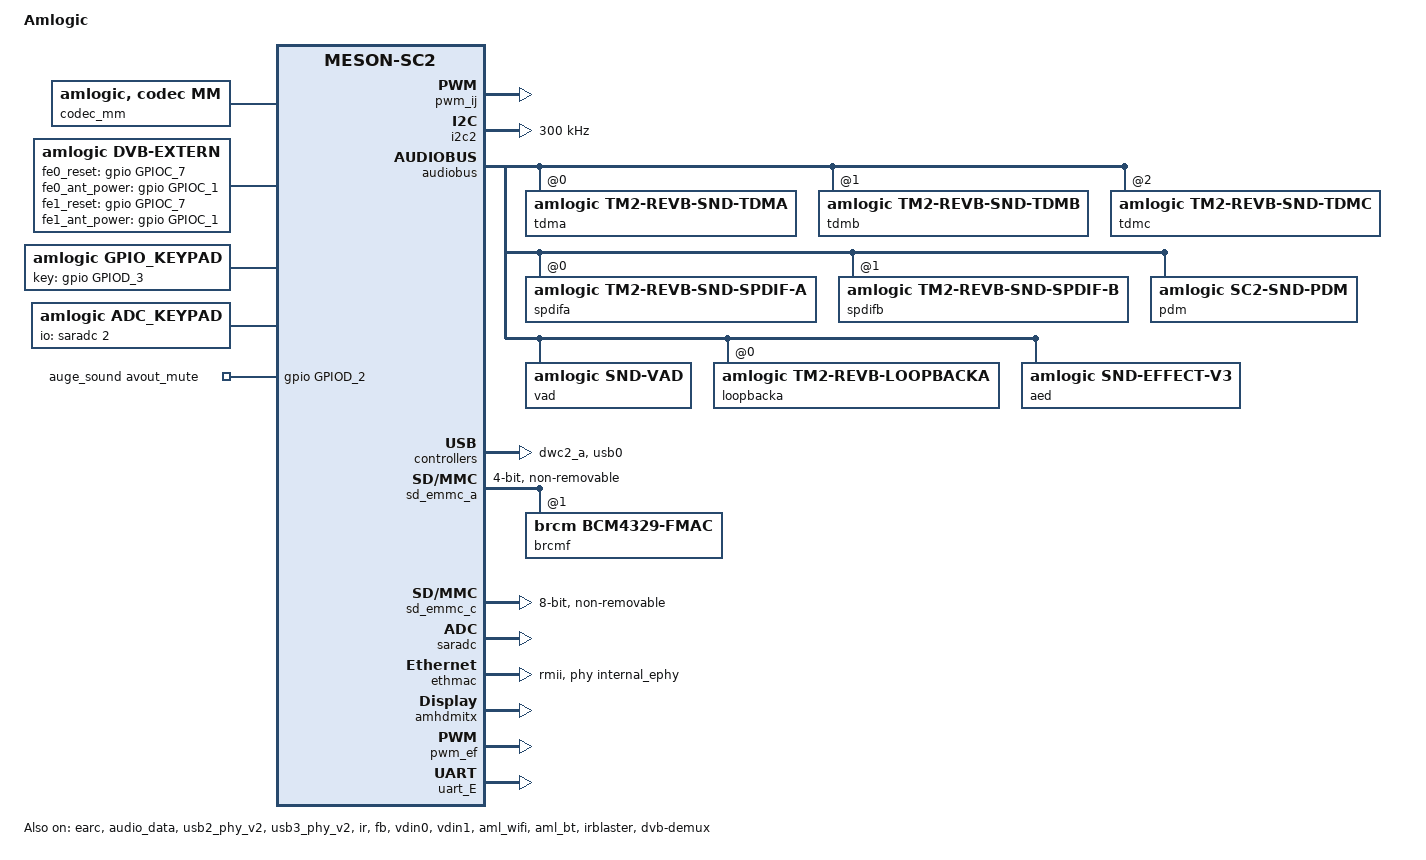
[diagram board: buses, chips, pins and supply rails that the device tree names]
// SPDX-License-Identifier: (GPL-2.0+ OR MIT)
/*
 * Copyright (c) 2019 Amlogic, Inc. All rights reserved.
 */

/dts-v1/;

#include "meson-sc2.dtsi"
#include "partition_mbox_ab.dtsi"
#include <dt-bindings/input/input.h>

/ {
	model = "Amlogic";
	amlogic-dt-id = "sc2_s905x4_ah219";
	compatible = "amlogic, sc2";
	interrupt-parent = <&gic>;
	#address-cells = <2>;
	#size-cells = <2>;

	aliases {
		serial0 = &uart_B;
		serial1 = &uart_E;
		serial2 = &uart_C;
		serial3 = &uart_D;
		serial4 = &uart_A;
		i2c0 = &i2c0;
		i2c1 = &i2c1;
		i2c2 = &i2c2;
		i2c3 = &i2c3;
		i2c4 = &i2c4;
		spi1 = &spicc0;
		spi2 = &spicc1;
		tsensor0 = &p_tsensor;
		tsensor1 = &d_tsensor;
	};

	memory@00000000 {
		device_type = "memory";
		linux,usable-memory = <0x0 0x000000 0x0 0x80000000>;
	};

	reserved-memory {
		#address-cells = <2>;
		#size-cells = <2>;
		ranges;

		/* global autoconfigured region for contiguous allocations */
		ramoops@0x07400000 {
			compatible = "ramoops";
			reg = <0x0 0x07400000 0x0 0x00100000>;
			record-size = <0x20000>;
			console-size = <0x40000>;
			ftrace-size = <0x80000>;
			pmsg-size = <0x10000>;
			bconsole-size = <0x10000>;
		};

		secmon_reserved:linux,secmon {
			compatible = "shared-dma-pool";
			reusable;
			size = <0x0 0x3400000>;
			alignment = <0x0 0x400000>;
			alloc-ranges = <0x0 0x05000000 0x0 0x3400000>;
		};
		logo_reserved:linux,meson-fb {
			compatible = "shared-dma-pool";
			reusable;
			size = <0x0 0x800000>;
			alignment = <0x0 0x400000>;
			alloc-ranges = <0x0 0x7f800000 0x0 0x800000>;
		};

		ion_cma_reserved:linux,ion-dev {
			compatible = "shared-dma-pool";
			reusable;
			size = <0x0 0x6400000>;
			alignment = <0x0 0x400000>;
		};
		ion_fb_reserved:linux,ion-fb {
			compatible = "shared-dma-pool";
			reusable;
			/* 1920x1080x4x3 round up 4M align */
			size = <0x0 0x1c00000>;
			alignment = <0x0 0x400000>;
		};

		/*di CMA pool */
		//di_cma_reserved:linux,di_cma {
			//compatible = "shared-dma-pool";
			//status = "okay";
			//reusable;
			/* buffer_size = 3621952(yuv422 8bit)
			 *  | 4736064(yuv422 10bit)
			 *  | 4074560(yuv422 10bit full pack mode)
			 * 10x3621952=34.6M(0x23) support 8bit
			 * 10x4736064=45.2M(0x2e) support 12bit
			 * 10x4074560=40M(0x28) support 10bit
			 */
			//size = <0x0 0x0B000000>;
			//size = <0x0 0x0>;
			//alignment = <0x0 0x400000>;
		//};

		/*  POST PROCESS MANAGER */
		ppmgr_reserved:linux,ppmgr {
			compatible = "shared-dma-pool";
			size = <0x0>;
		};

		codec_mm_cma:linux,codec_mm_cma {
			compatible = "shared-dma-pool";
			reusable;
			/* ion_codec_mm max can alloc size 80M*/
			size = <0x0 0x1b000000>;
			alignment = <0x0 0x400000>;
			linux,contiguous-region;
		};

		/* codec shared reserved */
		codec_mm_reserved:linux,codec_mm_reserved {
			compatible = "amlogic, codec-mm-reserved";
			size = <0x0 0x0>;
			alignment = <0x0 0x100000>;
			//no-map;
		};

		/*  vdin0 CMA pool */
		vdin0_cma_reserved:linux,vdin0_cma {
			compatible = "shared-dma-pool";
			reusable;
			/* up to 1920x1080 yuv422 8bit and 5 buffers
			 * 1920x1080x2x5 = 20 M
			 */
			size = <0x0 0x01400000>;
			alignment = <0x0 0x400000>;
		};
		/*  vdin1 CMA pool */
		vdin1_cma_reserved:linux,vdin1_cma {
			compatible = "shared-dma-pool";
			reusable;
			/* up to 1920x1080 yuv422 8bit and 5 buffers
			 * 1920x1080x2x5 = 20 M
			 */
			size = <0x0 0x01400000>;
			alignment = <0x0 0x400000>;
		};
		dsp_fw_reserved:linux,dsp_fw {
			compatible = "shared-dma-pool";
			reusable;
			size = <0x0 0x00800000>;
			alignment = <0x0 0x00400000>;
			alloc-ranges = <0x0 0x30000000 0x0 0x00800000>;
		};
	};
	codec_mm {
		compatible = "amlogic, codec, mm";
		memory-region = <&codec_mm_cma &codec_mm_reserved>;
		dev_name = "codec_mm";
		status = "okay";
	};
	amdolby_vision {
		compatible = "amlogic, dolby_vision_sc2";
		dev_name = "aml_amdolby_vision_driver";
		status = "okay";
		tv_mode = <0>;/*1:enabel ;0:disable*/
	};
	cvbsout {
		compatible = "amlogic, cvbsout-sc2";
		status = "okay";

		/* clk path */
		/* 0:vid_pll vid2_clk */
		/* 1:gp0_pll vid2_clk */
		/* 2:vid_pll vid1_clk */
		/* 3:gp0_pll vid1_clk */
		clk_path = <0>;

		/* performance: reg_address, reg_value */
		/* sc2 */
		performance_pal = <0x1bf0  0x3 /* default Matrx625 CTCC value */
			0x1b12  0x8060
			0x1b05  0xf9
			0x1b56  0x333
			0x1c59  0xf15e
			0xffff  0x0>; /* ending flag */
		performance = <0x1bf0  0x3 /* ccitt033 SVA value */
			0x1b12  0x8080
			0x1b05  0xfc
			0x1b56  0x333
			0x1c59  0xf458
			0xffff  0x0>; /* ending flag */
		performance_ntsc = <0x1bf0  0x3 /* Matrx525 TTC value */
			0x1b12  0x8180
			0x1b05  0xf0
			0x1b56  0x333
			0x1c59  0xed66
			0xffff  0x0>; /* ending flag */
	};

	dvb-extern {
		compatible = "amlogic, dvb-extern";
		dev_name = "dvb-extern";
		status = "okay";

		fe_num = <2>;
		fe0_mode = "external";
		fe0_demod = "cxd2856";
		fe0_i2c_adap_id = <&i2c2>;
		fe0_demod_i2c_addr = <0xD8>;
		fe0_reset_value = <0>;
		fe0_reset_gpio = <&gpio GPIOC_7 GPIO_ACTIVE_HIGH>;
		fe0_reset_dir = <1>; /* 0: out, 1: in. */
		fe0_ant_poweron_value = <0>;
		fe0_ant_power_gpio = <&gpio GPIOC_1 GPIO_ACTIVE_HIGH>;
		fe0_ts  = <0>;
		fe0_tuner0 = <0>; /* T/C */
		fe0_tuner1 = <1>; /* S */

		fe1_demod = "cxd2856";
		fe1_i2c_adap_id = <&i2c2>;
		fe1_demod_i2c_addr = <0xCA>;
		fe1_reset_value = <0>;
		fe1_reset_gpio = <&gpio GPIOC_7 GPIO_ACTIVE_HIGH>;
		fe1_reset_dir = <1>; /* 0: out, 1: in. */
		fe1_ant_poweron_value = <0>;
		fe1_ant_power_gpio = <&gpio GPIOC_1 GPIO_ACTIVE_HIGH>;
		fe1_ts  = <1>;
		fe1_tuner0 = <0>; /* T/C */
		fe1_tuner1 = <1>; /* S */

		tuner_num = <2>; /* for extern demod use tuner */
		tuner0_name = "r836_tuner";
		tuner1_name = "av2018_tuner";
	};

	dvb-demux {
		compatible = "amlogic sc2, dvb-demux";
		dev_name = "dvb-demux";
		status = "okay";

		reg = <0x0 0xfe000000 0x0 0x480000>;

		dmxdev_num = <6>;

		tsn_from = "demod";

		/*single demod setting */
		ts0_sid = <0x20>;
		ts0 = "serial-4wire"; /* tsinA: serial-4wire, serial-3wire */
		ts0_control = <0x0>;
		ts0_invert = <0>;

		ts1_sid = <0x21>;
		ts1 = "serial-4wire";
		ts1_control = <0x0>;
		ts1_invert = <0>;

		pinctrl-names = "s_ts0", "s_ts1";
		pinctrl-0 = <&dvb_s_ts0_pins>;
		pinctrl-1 = <&dvb_s_ts1_pins>;
	};

	ionvideo {
		compatible = "amlogic, ionvideo";
		dev_name = "ionvideo";
		status = "okay";
	};

	amlvideo2_0 {
		compatible = "amlogic, amlvideo2";
		dev_name = "amlvideo2";
		status = "okay";
		amlvideo2_id = <0>;
		cma_mode = <1>;
	};

	amlvideo2_1 {
		compatible = "amlogic, amlvideo2";
		dev_name = "amlvideo2";
		status = "okay";
		amlvideo2_id = <1>;
		cma_mode = <1>;
	};

	ppmgr {
		compatible = "amlogic, ppmgr";
		memory-region = <&ppmgr_reserved>;
		dev_name = "ppmgr";
		status = "okay";
	};

	amlvecm {
		compatible = "amlogic, vecm";
		dev_name = "aml_vecm";
		status = "okay";
		gamma_en = <0>;/*1:enabel ;0:disable*/
		wb_en = <0>;/*1:enabel ;0:disable*/
		cm_en = <0>;/*1:enabel ;0:disable*/
		/*0: 709/601  1: bt2020*/
		tx_op_color_primary = <0>;
	};

	multi-di {
		compatible = "amlogic, dim-sc2";
		status = "okay";
		/* 0:use reserved; 1:use cma; 2:use cma as reserved */
		flag_cma = <4>;	//<1>;
		//memory-region = <&di_reserved>;
		//memory-region = <&di_cma_reserved>;
		interrupts = <0 203 1
				0 202 1>;
		interrupt-names = "pre_irq", "post_irq";
		clocks = <&clkc CLKID_VPU_CLKB>,
			<&clkc CLKID_VPU>;
		clock-names = "vpu_clkb",
			"vpu_mux";
		clock-range = <334 667>;
		/* buffer-size = <3621952>;(yuv422 8bit) */
		buffer-size = <4074560>;/*yuv422 fullpack*/
		/* reserve-iomap = "true"; */
		/* if enable nr10bit, set nr10bit-support to 1 */
		post-wr-support = <1>;
		nr10bit-support = <1>;
		nrds-enable = <1>;
		pps-enable = <1>;
	};

	gpio_keypad{
		compatible = "amlogic, gpio_keypad";
		status = "okay";
		scan_period = <20>;
		key_num = <1>;
		key_name = "power";
		key_code = <116>;
		key-gpios = <&gpio  GPIOD_3  GPIO_ACTIVE_HIGH>;
		detect_mode = <0>;/*0:polling mode, 1:irq mode*/
	};

	adc_keypad {
		compatible = "amlogic, adc_keypad";
		status = "okay";
		key_name = "menu", "vol-", "vol+", "esc", "home";
		key_num = <5>;
		io-channels = <&saradc 2>;
		io-channel-names = "key-chan-2";
		key_chan = <2 2 2 2 2>;
		key_code = <139 114 115 1 102>;
		key_val = <0 143 266 389 512>; //val=voltage/1800mV*1023
		key_tolerance = <40 40 40 40 40>;
	};

	provisionkey {
		compatible = "amlogic, provisionkey";
		status = "okay";
		key-permit-default = "write";
		//new key not need add dts if started with KEY_PROVISION_
		KEY_PROVISION_XXX { };
		//test_my_added_keyname { };
	};//End provisionkey

	unifykey{
		compatible = "amlogic,unifykey";
		status = "okay";
		unifykey-num = <19>;
		unifykey-index-0 = <&keysn_0>;
		unifykey-index-1 = <&keysn_1>;
		unifykey-index-2 = <&keysn_2>;
		unifykey-index-3 = <&keysn_3>;
		unifykey-index-4 = <&keysn_4>;
		unifykey-index-5 = <&keysn_5>;
		unifykey-index-6 = <&keysn_6>;
		unifykey-index-7 = <&keysn_7>;
		unifykey-index-8 = <&keysn_8>;
		unifykey-index-9 = <&keysn_9>;
		unifykey-index-10= <&keysn_10>;
		unifykey-index-11= <&keysn_11>;
		unifykey-index-12= <&keysn_12>;
		unifykey-index-13= <&keysn_13>;
		unifykey-index-14= <&keysn_14>;
		unifykey-index-15= <&keysn_15>;
		unifykey-index-16= <&keysn_16>;
		unifykey-index-17= <&keysn_17>;
		unifykey-index-18= <&keysn_18>;

		keysn_0: key_0{
			key-name = "usid";
			key-device = "normal";
			key-permit = "read","write","del";
		};
		keysn_1:key_1{
			key-name = "mac";
			key-device = "normal";
			key-permit = "read","write","del";
		};
		keysn_2:key_2{
			key-name = "hdcp";
			key-device = "secure";
			key-type = "sha1";
			key-permit = "read","write","del";
		};
		keysn_3:key_3{
			key-name = "secure_boot_set";
			key-device = "efuse";
			key-permit = "write";
		};
		keysn_4:key_4{
			key-name = "mac_bt";
			key-device = "normal";
			key-permit = "read","write","del";
			key-type  = "mac";
		};
		keysn_5:key_5{
			key-name = "mac_wifi";
			key-device = "normal";
			key-permit = "read","write","del";
			key-type = "mac";
		};
		keysn_6:key_6{
			key-name = "hdcp2_tx";
			key-device = "normal";
			key-permit = "read","write","del";
		};
		keysn_7:key_7{
			key-name = "hdcp2_rx";
			key-device = "normal";
			key-permit = "read","write","del";
		};
		keysn_8:key_8{
			key-name = "widevinekeybox";
			key-device = "secure";
			key-permit = "read","write","del";
		};
		keysn_9:key_9{
			key-name = "deviceid";
			key-device = "normal";
			key-permit = "read","write","del";
		};
		keysn_10:key_10{
			key-name = "hdcp22_fw_private";
			key-device = "secure";
			key-permit = "read","write","del";
		};
		keysn_11:key_11{
			key-name = "PlayReadykeybox25";
			key-device = "secure";
			key-permit = "read","write","del";
		};
		keysn_12:key_12{
			key-name = "prpubkeybox";// PlayReady
			key-device = "secure";
			key-permit = "read","write","del";
		};
		keysn_13:key_13{
			key-name = "prprivkeybox";// PlayReady
			key-device = "secure";
			key-permit = "read","write","del";
		};
		keysn_14:key_14{
			key-name = "attestationkeybox";// attestation key
			key-device = "secure";
			key-permit = "read","write","del";
		};
		keysn_15:key_15{
			key-name = "region_code";
			key-device = "normal";
			key-permit = "read","write","del";
		};
		keysn_16:key_16{
			key-name = "netflix_mgkid";
			key-device = "secure";
			key-permit = "read","write","del";
		};
		keysn_17:key_17{
			key-name = "attestationdevidbox";// attest dev id box
			key-device = "secure";
			key-permit = "read","write","del";
		};
		keysn_18:key_18{
			key-name = "oemkey";
			key-device = "normal";
			key-permit = "read","write","del";
		};
	};//End unifykey

	efusekey:efusekey{
		keynum = <4>;
		key0 = <&key_0>;
		key1 = <&key_1>;
		key2 = <&key_2>;
		key3 = <&key_3>;
		key_0:key_0{
			keyname = "mac";
			offset = <0>;
			size = <6>;
		};
		key_1:key_1{
			keyname = "mac_bt";
			offset = <6>;
			size = <6>;
		};
		key_2:key_2{
			keyname = "mac_wifi";
			offset = <12>;
			size = <6>;
		};
		key_3:key_3{
			keyname = "usid";
			offset = <18>;
			size = <16>;
		};
	};//End efusekey
	/* Audio Related start */
	auge_sound {
		compatible = "amlogic, auge-sound-card";
		aml-audio-card,name = "AML-AUGESOUND";

		/*avout mute gpio*/
		avout_mute-gpios = <&gpio GPIOD_2 GPIO_ACTIVE_HIGH>;

		aml-audio-card,dai-link@0 {
			format = "dsp_a";
			mclk-fs = <512>;
			//continuous-clock;
			//bitclock-inversion;
			//frame-inversion;
			/* master mode */
			bitclock-master = <&tdma>;
			frame-master = <&tdma>;
			/* slave mode */
			/*
			 * bitclock-master = <&tdmacodec>;
			 * frame-master = <&tdmacodec>;
			 */
			suffix-name = "alsaPORT-pcm";
			tdmacpu: cpu {
				sound-dai = <&tdma>;
				dai-tdm-slot-tx-mask =
							<1>;
				dai-tdm-slot-rx-mask =
							<1>;
				dai-tdm-slot-num = <2>;
				dai-tdm-slot-width = <16>;
				system-clock-frequency = <256000>;
			};
			tdmacodec: codec {
				sound-dai = <&dummy_codec>;
			};
		};

		aml-audio-card,dai-link@1 {
			format = "i2s";// "dsp_a";
			mclk-fs = <256>;
			//continuous-clock;
			//bitclock-inversion;
			//frame-inversion;
			/* master mode */
			bitclock-master = <&tdmb>;
			frame-master = <&tdmb>;
			/* slave mode */
			//bitclock-master = <&tdmbcodec>;
			//frame-master = <&tdmbcodec>;
			/* suffix-name, sync with android audio hal
			 * what's the dai link used for
			 */
			suffix-name = "alsaPORT-i2s";
			cpu {
				sound-dai = <&tdmb>;
				dai-tdm-slot-tx-mask = <1 1>;
				dai-tdm-slot-rx-mask = <1 1>;
				dai-tdm-slot-num = <2>;
				/*
				 * dai-tdm-slot-tx-mask =
				 *	<1 1 1 1 1 1 1 1>;
				 * dai-tdm-slot-rx-mask =
				 *	<1 1 1 1 1 1 1 1>;
				 * dai-tdm-slot-num = <8>;
				 */
				dai-tdm-slot-width = <32>;
				system-clock-frequency = <12288000>;
			};
			tdmbcodec: codec {
				sound-dai = <&amlogic_codec /*&ad82584f_62*/>;
			};
		};

		aml-audio-card,dai-link@2 {
			format = "i2s";
			mclk-fs = <256>;
			//continuous-clock;
			//bitclock-inversion;
			//frame-inversion;
			/* master mode */
			bitclock-master = <&tdmc>;
			frame-master = <&tdmc>;
			/* slave mode */
			//bitclock-master = <&tdmccodec>;
			//frame-master = <&tdmccodec>;
			/* suffix-name, sync with android audio hal used for */
			suffix-name = "alsaPORT-i2s2hdmi";
			cpu {
				sound-dai = <&tdmc>;
				dai-tdm-slot-tx-mask = <1 1>;
				dai-tdm-slot-rx-mask = <1 1>;
				dai-tdm-slot-num = <2>;
				dai-tdm-slot-width = <32>;
				system-clock-frequency = <12288000>;
			};
			tdmccodec: codec {
				sound-dai = <&dummy_codec>;
			};
		};

		aml-audio-card,dai-link@3 {
			mclk-fs = <64>;
			/* suffix-name, sync with android audio hal
			 * what's the dai link used for
			 */
			suffix-name = "alsaPORT-pdm-builtinmic";
			cpu {
				sound-dai = <&pdm>;
			};
			codec {
				sound-dai = <&dummy_codec>;
			};
		};

		aml-audio-card,dai-link@4 {
			mclk-fs = <128>;
			/* suffix-name, sync with android audio hal used for */
			suffix-name = "alsaPORT-spdif";
			cpu {
				sound-dai = <&spdifa>;
				system-clock-frequency = <6144000>;
			};
			codec {
				sound-dai = <&dummy_codec>;
			};
		};
		/* spdif_b to hdmi, only playback */
		aml-audio-card,dai-link@5 {
			mclk-fs = <128>;
			continuous-clock;
			/* suffix-name, sync with android audio hal
			 * what's the dai link used for
			 */
			suffix-name = "alsaPORT-spdifb";
			cpu {
				sound-dai = <&spdifb>;
				system-clock-frequency = <6144000>;
			};
			codec {
				sound-dai = <&dummy_codec>;
			};
		};

		aml-audio-card,dai-link@6 {
			mclk-fs = <256>;
			suffix-name = "alsaPORT-earc";
			cpu {
				sound-dai = <&earc>;
				system-clock-frequency = <12288000>;
			};
			codec {
				sound-dai = <&dummy_codec>;
			};
		};

		aml-audio-card,dai-link@7 {
			mclk-fs = <256>;
			continuous-clock;
			suffix-name = "alsaPORT-loopback";
			cpu {
				sound-dai = <&loopbacka>;
				system-clock-frequency = <12288000>;
			};
			codec {
				sound-dai = <&dummy_codec>;
			};
		};
	};

	picdec {
		compatible = "amlogic, picdec";
		status = "okay";
	};

	audiolocker: locker {
		compatible = "amlogic, audiolocker";
		clock-names = "lock_out", "lock_in", "out_src",
					"in_src", "out_calc", "in_ref";
		interrupts = <GIC_SPI 1 IRQ_TYPE_EDGE_RISING>;
		interrupt-names = "irq";
		frequency = <49000000>; /* pll */
		dividor = <49>; /* locker's parent */
		status = "disabled";
	};/* Audio Related end */

	cpu_opp_table0: cpu_opp_table0 {
		compatible = "operating-points-v2";
		status = "okay";
		opp-shared;

		opp00 {
			opp-hz = /bits/ 64 <100000000>;
			opp-microvolt = <779000>;
		};
		opp01 {
			opp-hz = /bits/ 64 <250000000>;
			opp-microvolt = <779000>;
		};
		opp02 {
			opp-hz = /bits/ 64 <500000000>;
			opp-microvolt = <779000>;
		};
		opp03 {
			opp-hz = /bits/ 64 <667000000>;
			opp-microvolt = <799000>;
		};
		opp04 {
			opp-hz = /bits/ 64 <1000000000>;
			opp-microvolt = <799000>;
		};
		opp05 {
			opp-hz = /bits/ 64 <1200000000>;
			opp-microvolt = <809000>;
		};
		opp06 {
			opp-hz = /bits/ 64 <1404000000>;
			opp-microvolt = <839000>;
		};
		opp07 {
			opp-hz = /bits/ 64 <1500000000>;
			opp-microvolt = <849000>;
		};
		opp08 {
			opp-hz = /bits/ 64 <1608000000>;
			opp-microvolt = <879000>;
		};
		opp09 {
			opp-hz = /bits/ 64 <1704000000>;
			opp-microvolt = <919000>;
		};
		opp10 {
			opp-hz = /bits/ 64 <1800000000>;
			opp-microvolt = <959000>;
		};
		opp11 {
			opp-hz = /bits/ 64 <1908000000>;
			opp-microvolt = <989000>;
		};
		opp12 {
			opp-hz = /bits/ 64 <2004000000>;
			opp-microvolt = <1019000>;
		};
	};

	cpufreq-meson {
		compatible = "amlogic, cpufreq-meson";
		status = "okay";
	};
};

&pwm_ij {
	status = "okay";
};

&i2c2 {
	status = "okay";
	pinctrl-names="default";
	pinctrl-0=<&i2c2_pins3>;
	clock-frequency = <300000>;
};

&i2c3 {
	status = "okay";
	pinctrl-names="default";
	pinctrl-0=<&i2c3_pins2>;
	clock-frequency = <300000>; /* default 100k */

	tlc59116: tlc59116@60 {
		compatible = "amlogic,tlc59116_led";
		reg = <0x60>;
		status = "okay";

		led0 {
			default_colors = <0 0 0>;
			r_io_number = <0>;
			g_io_number = <10>;
			b_io_number = <5>;
		};

		led1 {
			default_colors = <0 0 0>;
			r_io_number = <1>;
			g_io_number = <11>;
			b_io_number = <6>;
		};

		led2 {
			default_colors = <0 0 0>;
			r_io_number = <2>;
			g_io_number = <12>;
			b_io_number = <7>;
		};

		led3 {
			default_colors = <0 0 0>;
			r_io_number = <3>;
			g_io_number = <13>;
			b_io_number = <8>;
		};
	};
};

&vddcpu0 {
	status = "okay";
};

&audiobus {
	tdma: tdm@0 {
		compatible = "amlogic, tm2-revb-snd-tdma";
		#sound-dai-cells = <0>;
		dai-tdm-lane-slot-mask-in = <0 1>;
		dai-tdm-oe-lane-slot-mask-out = <1 0>;
		dai-tdm-clk-sel = <0>;
		clocks = <&clkaudio CLKID_AUDIO_MCLK_A
				&clkc CLKID_MPLL0>;
		clock-names = "mclk", "clk_srcpll";
		pinctrl-names = "tdm_pins";
		pinctrl-0 = <&tdm_a
			&tdm_d3_pins
			&tdm_d4_pins
			&tdm_clk_pins>;

		status = "okay";
	};

	tdmb: tdm@1 {
		compatible = "amlogic, tm2-revb-snd-tdmb";
		#sound-dai-cells = <0>;
		dai-tdm-lane-slot-mask-in = <0 1 0 0>;
		dai-tdm-lane-slot-mask-out = <1 0 0 0>;
		dai-tdm-clk-sel = <1>;
		clocks = <&clkaudio CLKID_AUDIO_MCLK_B
				&clkaudio CLKID_AUDIO_MCLK_PAD0
				&clkc CLKID_MPLL1
				&clkc CLKID_MPLL0
				&clkaudio CLKID_AUDIO_SPDIFOUT_A>;
		clock-names = "mclk", "mclk_pad", "clk_srcpll",
			"samesource_srcpll", "samesource_clk";
		pinctrl-names = "tdm_pins";
		pinctrl-0 = </*&tdmb_mclk &tdmout_b &tdmin_b*/>;

		mclk_pad = <0>;  /* 0: mclk_0; 1: mclk_1 */

		/*
		 * 0: tdmout_a;
		 * 1: tdmout_b;
		 * 2: tdmout_c;
		 * 3: spdifout;
		 * 4: spdifout_b;
		 */
		samesource_sel = <3>;

		/*enable default mclk(12.288M), before extern codec start*/
		start_clk_enable = <1>;

		/*tdm clk tuning enable*/
		clk_tuning_enable = <1>;

		status = "okay";
	};

	tdmc: tdm@2 {
		compatible = "amlogic, tm2-revb-snd-tdmc";
		#sound-dai-cells = <0>;
		dai-tdm-lane-slot-mask-out = <1 1 1 1>;
		dai-tdm-clk-sel = <2>;
		clocks = <&clkaudio CLKID_AUDIO_MCLK_C
				&clkc CLKID_MPLL2>;
		clock-names = "mclk", "clk_srcpll";
		i2s2hdmi = <1>;
		status = "okay";
	};

	spdifa: spdif@0 {
		compatible = "amlogic, tm2-revb-snd-spdif-a";
		#sound-dai-cells = <0>;
		clocks = <&clkc CLKID_MPLL0
				&clkc CLKID_FCLK_DIV4
				&clkaudio CLKID_AUDIO_GATE_SPDIFIN
				&clkaudio CLKID_AUDIO_GATE_SPDIFOUT_A
				&clkaudio CLKID_AUDIO_SPDIFIN
				&clkaudio CLKID_AUDIO_SPDIFOUT_A>;
		clock-names = "sysclk", "fixed_clk", "gate_spdifin",
				"gate_spdifout", "clk_spdifin", "clk_spdifout";
		interrupts =
				<GIC_SPI 35 IRQ_TYPE_EDGE_RISING>;

		interrupt-names = "irq_spdifin";
		pinctrl-names = "spdif_pins", "spdif_pins_mute";
		pinctrl-0 = <&spdifout &spdifin>;
		pinctrl-1 = <&spdifout_a_mute>;

		/*spdif clk tuning enable*/
		clk_tuning_enable = <1>;

		status = "okay";
	};
	spdifb: spdif@1 {
		compatible = "amlogic, tm2-revb-snd-spdif-b";
		#sound-dai-cells = <0>;
		clocks = <&clkc CLKID_MPLL2 /*CLKID_HIFI_PLL*/
				&clkaudio CLKID_AUDIO_GATE_SPDIFOUT_B
				&clkaudio CLKID_AUDIO_SPDIFOUT_B>;
		clock-names = "sysclk",
				"gate_spdifout", "clk_spdifout";

		status = "okay";
	};
	pdm: pdm {
		compatible = "amlogic, sc2-snd-pdm";
		#sound-dai-cells = <0>;

		clocks = <&clkaudio CLKID_AUDIO_GATE_PDM
			&clkc CLKID_FCLK_DIV3
			&clkc CLKID_MPLL3
			&clkaudio CLKID_AUDIO_PDMIN0
			&clkaudio CLKID_AUDIO_PDMIN1>;
		clock-names = "gate",
			"sysclk_srcpll",
			"dclk_srcpll",
			"pdm_dclk",
			"pdm_sysclk";

		pinctrl-names = "pdm_pins";
		pinctrl-0 = </*&pdmin*/>;

		/* mode 0~4, defalut:1 */
		filter_mode = <1>;

		train_sample_count = <0xe>;

		status = "okay";
	};

	asrca: resample@0 {
		compatible = "amlogic, tm2-revb-resample-a";
		clocks = <&clkc CLKID_MPLL3
				&clkaudio CLKID_AUDIO_MCLK_F
				&clkaudio CLKID_AUDIO_RESAMPLE_A>;
		clock-names = "resample_pll", "resample_src", "resample_clk";
		/*same with toddr_src
		 *	TDMIN_A, 0
		 *	TDMIN_B, 1
		 *	TDMIN_C, 2
		 *	SPDIFIN, 3
		 *	PDMIN,  4
		 *	NONE,
		 *	TDMIN_LB, 6
		 *	LOOPBACK, 7
		 */
		resample_module = <4>;
		status = "disabled";
	};

	vad:vad {
		compatible = "amlogic, snd-vad";
		#sound-dai-cells = <0>;

		clocks = <&clkaudio CLKID_AUDIO_GATE_TOVAD
			&clkc CLKID_FCLK_DIV5
			&clkaudio CLKID_AUDIO_VAD>;
		clock-names = "gate", "pll", "clk";

		interrupts = <GIC_SPI 39 IRQ_TYPE_EDGE_RISING
				GIC_SPI 44 IRQ_TYPE_EDGE_RISING>;
		interrupt-names = "irq_wakeup", "irq_frame_sync";

		/*
		 * Data src sel:
		 * 0: tdmin_a;
		 * 1: tdmin_b;
		 * 2: tdmin_c;
		 * 3: spdifin;
		 * 4: pdmin;
		 * 5: loopback_b;
		 * 6: tdmin_lb;
		 * 7: loopback_a;
		 */
		src = <4>;

		/*
		 * deal with hot word in user space or kernel space
		 * 0: in user space
		 * 1: in kernel space
		 */
		level = <1>;

		status = "okay";
	};

	loopbacka:loopback@0 {
		compatible = "amlogic, tm2-revb-loopbacka";
		#sound-dai-cells = <0>;

		clocks = <&clkaudio CLKID_AUDIO_GATE_PDM
			&clkc CLKID_FCLK_DIV3
			&clkc CLKID_MPLL3
			&clkaudio CLKID_AUDIO_PDMIN0
			&clkaudio CLKID_AUDIO_PDMIN1
			&clkc CLKID_MPLL0
			&clkaudio CLKID_AUDIO_MCLK_A>;
		clock-names = "pdm_gate",
			"pdm_sysclk_srcpll",
			"pdm_dclk_srcpll",
			"pdm_dclk",
			"pdm_sysclk",
			"tdminlb_mpll",
			"tdminlb_mclk";

		/* datain src
		 * 0: tdmin_a;
		 * 1: tdmin_b;
		 * 2: tdmin_c;
		 * 3: spdifin;
		 * 4: pdmin;
		 */
		datain_src = <4>;
		datain_chnum = <0>;
		datain_chmask = <0x0>;
		/* config which data pin for loopback */
		datain-lane-mask-in = <0 0 0 0>;

		/* calc mclk for datalb */
		mclk-fs = <256>;

		/* tdmin_lb src
		 * 0: tdmoutA
		 * 1: tdmoutB
		 * 2: tdmoutC
		 * 3: PAD_TDMINA_DIN*, refer to core pinmux
		 * 4: PAD_TDMINB_DIN*, refer to core pinmux
		 * 5: PAD_TDMINC_DIN*, refer to core pinmux
		 * 6: PAD_TDMINA_D*, oe, refer to core pinmux
		 * 7: PAD_TDMINB_D*, oe, refer to core pinmux
		 */
		/* if tdmin_lb >= 3, use external loopback */
		datalb_src = <1>;
		datalb_chnum = <2>;
		datalb_chmask = <0x3>;
		/* config which data pin as loopback */
		datalb-lane-mask-in = <1 0 0 0>;

		status = "okay";
	};

	loopbackb:loopback@1 {
		compatible = "amlogic, tm2-revb-loopbackb";
		#sound-dai-cells = <0>;

		clocks = <&clkaudio CLKID_AUDIO_GATE_PDM
			&clkc CLKID_FCLK_DIV3
			&clkc CLKID_MPLL3
			&clkaudio CLKID_AUDIO_PDMIN0
			&clkaudio CLKID_AUDIO_PDMIN1
			&clkc CLKID_MPLL0
			&clkaudio CLKID_AUDIO_MCLK_A>;
		clock-names = "pdm_gate",
			"pdm_sysclk_srcpll",
			"pdm_dclk_srcpll",
			"pdm_dclk",
			"pdm_sysclk",
			"tdminlb_mpll",
			"tdminlb_mclk";

		/* calc mclk for datain_lb */
		mclk-fs = <256>;

		/* datain src
		 * 0: tdmin_a;
		 * 1: tdmin_b;
		 * 2: tdmin_c;
		 * 3: spdifin;
		 * 4: pdmin;
		 */
		datain_src = <4>;
		datain_chnum = <4>;
		datain_chmask = <0xf>;
		/* config which data pin for loopback */
		datain-lane-mask-in = <1 0 1 0>;

		/* tdmin_lb src
		 * 0: tdmoutA
		 * 1: tdmoutB
		 * 2: tdmoutC
		 * 3: PAD_TDMINA_DIN*, refer to core pinmux
		 * 4: PAD_TDMINB_DIN*, refer to core pinmux
		 * 5: PAD_TDMINC_DIN*, refer to core pinmux
		 * 6: PAD_TDMINA_D*, oe, refer to core pinmux
		 * 7: PAD_TDMINB_D*, oe, refer to core pinmux
		 */
		/* if tdmin_lb >= 3, use external loopback */
		datalb_src = <1>;
		datalb_chnum = <2>;
		datalb_chmask = <0x3>;
		/* config which data pin as loopback */
		datalb-lane-mask-in = <1 0 0 0>;

		status = "disabled";
	};
	aed:effect {
		compatible = "amlogic, snd-effect-v3";
		#sound-dai-cells = <0>;
		clocks = <&clkaudio CLKID_AUDIO_GATE_EQDRC
			&clkc CLKID_FCLK_DIV5
			&clkaudio CLKID_AUDIO_EQDRC>;
		clock-names = "gate", "srcpll", "eqdrc";
		/*
		 * 0:tdmout_a
		 * 1:tdmout_b
		 * 2:tdmout_c
		 * 3:spdifout
		 * 4:spdifout_b
		 */
		eqdrc_module = <1>;
		/* max 0xf, each bit for one lane, usually one lane */
		lane_mask = <0x1>;
		/* max 0xff, each bit for one channel */
		channel_mask = <0x3>;
		status = "okay";
	};
}; /* end of audiobus */

&earc {
	status = "okay";
};

&pinctrl_audio {
	tdm_d3_pins: tdm_d3_pin {
		mux {
			groups = "tdm_d3";
			function = "tdmina_lane1";
		};
	};

	tdm_d4_pins: tdm_d4_pin {
		mux {
			groups = "tdm_d4";
			function = "tdmouta_lane0";
		};
	};

	tdm_clk_pins: tdm_clk_pin {
		mux {
			groups = "tdm_sclk0", "tdm_lrclk0";
			function = "tdm_clk_outa";
		};
	};
};

&periphs_pinctrl {
	tdm_a: tdm_a {
		mux { /* GPIOX_11, GPIOX_10, GPIOX_8, GPIOX_9 */
			groups = "tdm_sclk0",
				"tdm_fs0",
				"tdm_d3",
				"tdm_d4";
			function = "tdm";
		};
	};

	tdmin_a: tdmin_a {
		mux { /* GPIOX_8 */
			groups = "tdma_din1";
			function = "tdma_in";
		};
	};

	tdmb_mclk: tdmb_mclk {
		mux {
			groups = "mclk0_a";
			function = "mclk0";
			drive-strength = <2>;
		};
	};
	tdmout_b: tdmout_b {
		mux { /* GPIOA_1, GPIOA_2, GPIOA_3 */
			groups = "tdmb_sclk",
				"tdmb_fs",
				"tdmb_dout0";
			function = "tdmb_out";
			drive-strength = <2>;
		};
	};

	tdmin_b:tdmin_b {
		mux { /* GPIOA_4 */
			groups = "tdmb_din1"
				/*,"tdmb_slv_sclk", "tdmb_slv_fs"*/;
			function = "tdmb_in";
			drive-strength = <2>;
		};
	};

	tdmc_mclk: tdmc_mclk {
		mux { /* GPIOA_11 */
			groups = "mclk1_a";
			function = "mclk1";
		};
	};

	tdmout_c:tdmout_c {
		mux { /* GPIOA_12, GPIOA_13 */
			groups = "tdmc_sclk_a",
				"tdmc_fs_a"
				/*, "tdmc_dout0_a"
				 *,	"tdmc_dout2"
				 *, "tdmc_dout3"
				 */;
			function = "tdmc_out";
		};
	};

	tdmin_c:tdmin_c {
		mux { /* GPIOA_10 */
			groups = "tdmc_din0_a";
			function = "tdmc_in";
		};
	};

	spdifin: spdifin {
		mux {/* GPIOH_5 */
			groups = "spdif_in_h";
			function = "spdif_in";
		};
	};

	pdmin: pdmin {
		mux { /* GPIOX_0, GPIOX_1, GPIOX_2, GPIOX_3, GPIOX_4 */
			groups = "pdm_din0_x",
				"pdm_din1_x",
				"pdm_din2_x",
				"pdm_din3_x",
				"pdm_dclk_x";
			function = "pdm";
		};
	};

	spdifout: spdifout {
		mux { /* GPIOD_10 */
			groups = "spdif_out_d";
			function = "spdif_out";
		};
	};

	spdifout_a_mute: spdifout_a_mute {
		mux { /* GPIOD_10 */
			groups = "GPIOD_10";
			function = "gpio_periphs";
			output-low;
		};
	};

	dvb_s_ts0_pins: dvb_s_ts0_pins {
		tsin_a {
			groups = "tsin_a_sop_d",
				"tsin_a_valid_d",
				"tsin_a_clk_d",
				"tsin_a_din0_d";
			function = "tsin_a";
		};
	};

	dvb_s_ts1_pins: dvb_s_ts1_pins {
		tsin_b {
			groups = "tsin_b_sop",
				"tsin_b_valid",
				"tsin_b_clk",
				"tsin_b_din0";
			function = "tsin_b";
		};
	};

	dvb_s_ts2_pins: dvb_s_ts2_pins {
		tsin_c {
			groups = "tsin_c_sop_z",
				"tsin_c_valid_z",
				"tsin_c_clk_z",
				"tsin_c_din0_z";
			function = "tsin_c";
		};
	};

	dvb_s_ts3_pins: dvb_s_ts3_pins {
		tsin_d {
			groups = "tsin_d_sop_z",
				"tsin_d_valid_z",
				"tsin_d_clk_z",
				"tsin_d_din0_z";
			function = "tsin_d";
		};
	};
}; /* end of periphs_pinctrl */

&audio_data {
	status = "okay";
};

&dwc2_a {
	status = "okay";
	/** 0: normal, 1: otg+dwc3 host only, 2: otg+dwc3 device only*/
	controller-type = <3>;
};

&usb0 {
	status = "okay";
};

&usb2_phy_v2 {
	status = "okay";
	portnum = <2>;
};

&usb3_phy_v2 {
	status = "okay";
	portnum = <1>;
	otg = <1>;
	gpio-vbus-power = "GPIOH_6";
	gpios = <&gpio GPIOH_6 GPIO_ACTIVE_HIGH>;
};

&pcie {
	reset-gpio = <&gpio GPIOX_7 GPIO_ACTIVE_HIGH>;
	status = "disable";
};

&i2c3 {
	pinctrl-0 = <&i2c3_pins2>;
	pinctrl-names = "default";
	status = "disabled";
};

/* SDIO */
&sd_emmc_a {
	status = "okay";
	pinctrl-0 = <&sdio_pins>;
	pinctrl-1 = <&sdio_clk_gate_pins>;
	pinctrl-names = "default", "clk-gate";
	#address-cells = <1>;
	#size-cells = <0>;

	bus-width = <4>;
	cap-sd-highspeed;
	sd-uhs-sdr50;
	sd-uhs-sdr104;
	max-frequency = <200000000>;

	non-removable;
	disable-wp;

	//vmmc-supply = <&vddao_3v3>;
	//vqmmc-supply = <&vddio_ao1v8>;

	brcmf: wifi@1 {
		reg = <1>;
		compatible = "brcm,bcm4329-fmac";
	};
};

/* SD card */
&sd_emmc_b {
	status = "disabled";
	pinctrl-0 = <&sdcard_pins>;
	pinctrl-1 = <&sdcard_clk_gate_pins>;
	pinctrl-2 = <&sd_1bit_pins>;
	pinctrl-3 = <&sd_to_ao_uart_clr_pins
		&sdcard_pins &ao_to_sd_uart_pins>;
	pinctrl-4 = <&sd_to_ao_uart_clr_pins
		&sd_1bit_pins &ao_to_sd_uart_pins>;
	pinctrl-5 = <&sdcard_pins &ao_uart_pins>;
	pinctrl-6 = <&sd_to_ao_uart_clr_pins
		&ao_to_sd_uart_pins>;
	pinctrl-7 = <&sdcard_pins &ao_uart_pins>;
	pinctrl-8 = <&sd_to_ao_uart_clr_pins
		&ao_to_sd_uart_pins>;
	pinctrl-names = "sd_default",
			"clk-gate",
			"sd_1bit_pins",
			"sd_clk_cmd_uart_pins",
			"sd_1bit_uart_pins",
			"sd_to_ao_uart_pins",
			"ao_to_sd_uart_pins",
			"sd_to_ao_jtag_pins",
			"ao_to_sd_jtag_pins";
	bus-width = <4>;
	cap-sd-highspeed;
//	sd-uhs-sdr12;
//	sd-uhs-sdr25;
//	sd-uhs-sdr50;
//	sd-uhs-sdr104;
	max-frequency = <200000000>;
	disable-wp;

	cd-gpios = <&gpio GPIOC_6 GPIO_ACTIVE_HIGH>;
	dat1-gpios = <&gpio GPIOC_1 GPIO_ACTIVE_HIGH>;
	//vmmc-supply = <&vddao_3v3>;
	//vqmmc-supply = <&emmc_1v8>;
};

&sd_emmc_c {
	status = "okay";
	pinctrl-0 = <&emmc_pins>, <&emmc_ds_pins>;
	pinctrl-1 = <&emmc_clk_gate_pins>;
	pinctrl-names = "default", "clk-gate";

	bus-width = <8>;
	cap-mmc-highspeed;
	//mmc-ddr-1_8v;
	mmc-hs200-1_8v;
	mmc-hs400-1_8v;
	max-frequency = <200000000>;
	non-removable;
	disable-wp;

//	mmc-pwrseq = <&emmc_pwrseq>;
//	vmmc-supply = <&vddao_3v3>;
//	vqmmc-supply = <&vddao_1v8>;
};

&mtd_nand {
	status = "disabled";
	#address-cells = <1>;
	#size-cells = <0>;

	pinctrl-names = "nand_norb_mod","nand_cs_only";
	pinctrl-0 = <&all_nand_pins>;
	pinctrl-1 = <&nand_cs_pins>;
	bl_mode = <1>;
	fip_copies = <4>;
	fip_size = <0x200000>;
	ship_bad_block = <1>;
	disa_irq_flag = <1>;
	nand@bootloader {
		reg = <0>;
		#address-cells = <1>;
		#size-cells = <1>;
		nand-ecc-maximize;
		partition@0 {
			label = "bootloader";
			reg = <0x0 0x00000000>;
		};
	};
	nand@normal {
		reg = <0>;
		#address-cells = <1>;
		#size-cells = <1>;
		nand-ecc-maximize;

		partition@0 {
			label = "bl2e";
			reg = <0x0 0x00000000>;
		};
		partition@1 {
			label = "bl2x";
			reg = <0x0 0x00000000>;
		};
		partition@2 {
			label = "ddrfip";
			reg = <0x0 0x00000000>;
		};
		partition@3 {
			label = "tpl";
			reg = <0x0 0x00000000>;
		};
		partition@4 {
			label = "logo";
			reg = <0x0 0x00200000>;
		};
		partition@5 {
			label = "recovery";
			reg = <0x0 0x1000000>;
		};
		partition@6 {
			label = "boot";
			reg = <0x0 0x0F00000>;
		};
		partition@7 {
			label = "system";
			reg = <0x0 0x11800000>;
		};
		partition@8 {
			label = "data";
			reg = <0x0 0xffffffff>;
		};
	};
};

&saradc {
	status = "okay";
};

&ethmac {
	status = "okay";
	phy-handle = <&internal_ephy>;
	phy-mode = "rmii";
};

&ir {
	status = "okay";
	pinctrl-0 = <&remote_pins>;
	pinctrl-names = "default";
};

&spicc0 {
	status = "disabled";
	pinctrl-names = "default";
	pinctrl-0 = <&spicc0_pins_x>;
	cs-gpios = <&gpio GPIOX_10 0>;
};

&spicc1 {
	status = "disabled";
	pinctrl-names = "default";
	pinctrl-0 = <&spicc1_pins_h>;
	cs-gpios = <&gpio GPIOH_6 0>;
};

&spifc {
	status = "disabled";
	pinctrl-names = "default";
	pinctrl-0 = <&spifc_pins>;
	spi-nand@0 {
		compatible = "spi-nand";
		status = "disabled";
		reg = <0>;
		spi-max-frequency = <96000000>;
		bl_mode = <1>;
		fip_copies = <4>;
		fip_size = <0x200000>;
		partition = <&spinand_partitions>;
		spinand_partitions: spinand_partitions{
			bootloader{
				offset=<0x0 0x0>;
				size=<0x0 0x0>;
			};
			tpl{
				offset=<0x0 0x0>;
				size=<0x0 0x0>;
			};
			logo{
				offset=<0x0 0x0>;
				size=<0x0 0x200000>;
			};
			recovery{
				offset=<0x0 0x0>;
				size=<0x0 0x1000000>;
			};
			boot{
				offset=<0x0 0x0>;
				size=<0x0 0x1000000>;
			};
			system{
				offset=<0x0 0x0>;
				size=<0x0 0x4000000>;
			};
			data{
				offset=<0xffffffff 0xffffffff>;
				size=<0x0 0x0>;
			};
		};
	};
};

&fb {
	status = "okay";
	display_size_default = <1920 1080 1920 2160 32>;
	mem_size = <0x00800000 0x1980000 0x100000 0x100000 0x800000>;
	logo_addr = "0x7f800000";
	mem_alloc = <0>;
	pxp_mode = <0>; /** 0:normal mode 1:pxp mode */
};

&amhdmitx {
	status = "okay";
};

/*if you want to use vdin just modify status to "ok"*/
&vdin0 {
	/*compatible = "amlogic, vdin-sc2";*/
	/*memory-region = <&vdin0_cma_reserved>;*/
	status = "okay";
	/* up to 1920x1080 yuv422 8bit and 5 buffers
	 * 1920x1080x2x5 = 20 M
	 */
	cma_size = <20>;
	/*vdin write mem color depth support:
	 *bit0:support 8bit
	 *bit1:support 9bit
	 *bit2:support 10bit
	 *bit3:support 12bit
	 *bit4:support yuv422 10bit full pack mode (from txl new add)
	 */
	tv_bit_mode = <0x1>;
};

&vdin1 {
	/*compatible = "amlogic, vdin-sc2";*/
	memory-region = <&vdin1_cma_reserved>;
	status = "okay";
	/*vdin write mem color depth support:
	 *bit0:support 8bit
	 *bit1:support 9bit
	 *bit2:support 10bit
	 *bit3:support 12bit
	 */
	tv_bit_mode = <1>;
};

&aml_wifi{
	status = "okay";
	interrupt-gpios = <&gpio  GPIOX_7  GPIO_ACTIVE_HIGH>;
	power_on-gpios = <&gpio   GPIOX_6  GPIO_ACTIVE_HIGH>;
};

&aml_bt {
	status = "okay";
	reset-gpios = <&gpio    GPIOX_17 GPIO_ACTIVE_HIGH>;
	hostwake-gpios = <&gpio GPIOX_19 GPIO_ACTIVE_HIGH>;
};

&pwm_ef {
	pinctrl-0 = <&pwm_e_pins>;
	pinctrl-names = "default";
	status = "okay";
};

&irblaster {
	status = "okay";
};

&uart_E {
	status = "okay";
	uart-has-rtscts;
};
